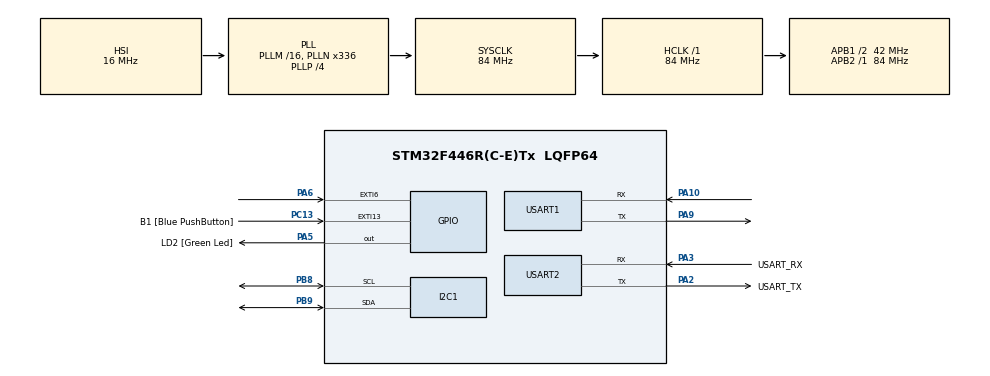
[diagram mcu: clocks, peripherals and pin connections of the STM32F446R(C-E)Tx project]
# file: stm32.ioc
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Mcu.Family=STM32F4
Mcu.Name=STM32F446R(C-E)Tx
Mcu.Package=LQFP64
NVIC.EXTI9_5_IRQn=true\:0\:0\:false\:false\:true\:true\:true\:true
NVIC.PriorityGroup=NVIC_PRIORITYGROUP_0
PA10.Mode=Asynchronous
PA10.Signal=USART1_RX
PA13.GPIO_Label=TMS
PA13.Mode=Serial_Wire
PA13.Signal=SYS_JTMS-SWDIO
PA14.GPIO_Label=TCK
PA14.Mode=Serial_Wire
PA14.Signal=SYS_JTCK-SWCLK
PA2.GPIO_Label=USART_TX
PA2.Mode=Asynchronous
PA2.Signal=USART2_TX
PA3.GPIO_Label=USART_RX
PA3.Mode=Asynchronous
PA3.Signal=USART2_RX
PA5.GPIO_Label=LD2 [Green Led]
PA5.Signal=GPIO_Output
PA6.Signal=GPXTI6
PA9.Mode=Asynchronous
PA9.Signal=USART1_TX
PB3.GPIO_Label=SWO
PB3.Signal=SYS_JTDO-SWO
PB8.Mode=I2C
PB8.Signal=I2C1_SCL
PB9.Mode=I2C
PB9.Signal=I2C1_SDA
PC13.GPIO_Label=B1 [Blue PushButton]
PC13.GPIO_ModeDefaultEXTI=GPIO_MODE_IT_FALLING
PC13.Signal=GPXTI13
PC14-OSC32_IN.Mode=LSE-External-Oscillator
PC14-OSC32_IN.Signal=RCC_OSC32_IN
PC15-OSC32_OUT.Mode=LSE-External-Oscillator
PC15-OSC32_OUT.Signal=RCC_OSC32_OUT
PH0-OSC_IN.Mode=HSE-External-Oscillator
PH0-OSC_IN.Signal=RCC_OSC_IN
PH1-OSC_OUT.Mode=HSE-External-Oscillator
PH1-OSC_OUT.Signal=RCC_OSC_OUT
ProjectManager.HeapSize=0x200
ProjectManager.StackSize=0x400
ProjectManager.TargetToolchain=Makefile
RCC.48MHZClocksFreq_Value=84000000
RCC.AHBFreq_Value=84000000
RCC.APB1CLKDivider=RCC_HCLK_DIV2
RCC.APB1Freq_Value=42000000
RCC.APB1TimFreq_Value=84000000
RCC.APB2Freq_Value=84000000
RCC.APB2TimFreq_Value=84000000
RCC.CortexFreq_Value=84000000
RCC.FLatency-AdvancedSettings=FLASH_LATENCY_2
RCC.HCLKFreq_Value=84000000
RCC.HSE_VALUE=8000000
RCC.HSI_VALUE=16000000
RCC.PLLN=336
RCC.PLLP=RCC_PLLP_DIV4
RCC.SYSCLKFreq_VALUE=84000000
RCC.SYSCLKSource=RCC_SYSCLKSOURCE_PLLCLK
RCC.USBFreq_Value=168000000
RCC.VCOOutputFreq_Value=336000000
USART1.VirtualMode=VM_ASYNC
USART2.VirtualMode=VM_ASYNC
board=NUCLEO-F446RE

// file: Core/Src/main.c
/* USER CODE BEGIN Header */
/**
  ******************************************************************************
  * @file           : main.c
  * @brief          : Main program body
  ******************************************************************************
  * @attention
  *
  * Copyright (c) 2026 STMicroelectronics.
  * All rights reserved.
  *
  * This software is licensed under terms that can be found in the LICENSE file
  * in the root directory of this software component.
  * If no LICENSE file comes with this software, it is provided AS-IS.
  *
  ******************************************************************************
  */
/* USER CODE END Header */
#include "main.h"

/* USER CODE BEGIN Includes */
#include "mpu6500.h"

/* USER CODE END Includes */

/* USER CODE BEGIN PTD */
typedef struct vec3 {
	float x;
	float y;
	float z;
} Vec3;
/* USER CODE END PTD */

/* USER CODE BEGIN PD */
#define UART_HEADER (0xAA)
/* USER CODE END PD */

I2C_HandleTypeDef hi2c1;

UART_HandleTypeDef huart1;
UART_HandleTypeDef huart2;

/* USER CODE BEGIN PV */
MPU6500_handle_t hmpu = {0};
MPU6500_output_t mpu_out = {0};
//INS_Position pos = {0};
// debug variables
int _loops = 0;
int _errors = 0;
/* USER CODE END PV */

void SystemClock_Config(void);
static void MX_GPIO_Init(void);
static void MX_I2C1_Init(void);
static void MX_USART1_UART_Init(void);
static void MX_USART2_UART_Init(void);

/* USER CODE BEGIN 0 */
void HAL_GPIO_EXTI_Callback(uint16_t GPIO_Pin)
{
    if (GPIO_Pin == GPIO_PIN_6)
    {
        MPU6500_IntCallback(&hmpu);
    }
}
/* USER CODE END 0 */

int main(void)
{

  /* USER CODE BEGIN 1 */
	Vec3 gyro_vec;
	Vec3 gyro_offset = {0};
	uint32_t old_time = 0;;
	uint32_t time = 0;
	uint32_t dt = 0;
  /* USER CODE END 1 */

  /* MCU Configuration--------------------------------------------------------*/

  /* Reset of all peripherals, Initializes the Flash interface and the Systick. */
  HAL_Init();

  /* Configure the system clock */
  SystemClock_Config();

  /* Initialize all configured peripherals */
  MX_GPIO_Init();
  MX_I2C1_Init();
  MX_USART1_UART_Init();
  MX_USART2_UART_Init();
  /* USER CODE BEGIN 2 */

  // initialize device
  if(MPU6500_Init_I2C(&hmpu, &hi2c1, MPU6500_ADDR_LOW) != 0) Error_Handler();
  // set sample rate div to low frequency (1kHz/17)
  if(MPU6500_SetSampleRateDiv(&hmpu, 10) != 0) Error_Handler();
  /* Enable raw data ready interrupts */
  if(MPU6500_EnableInterrupts(&hmpu) != 0) Error_Handler();

  // initialize time on INS_Position pos. All other mem set to 0.
  ///pos.time_ms = HAL_GetTick();

  // get initial gyro samples to calculate offsets
  const int offset_samples = 10;
  for(int i = 0; i < offset_samples; i++) {
	  while(hmpu.data_ready == 0)
	  {
		  // SPIN
	  }
	  hmpu.data_ready = 0;
	  if(MPU6500_GetGyro(&hmpu, &mpu_out) != 0) Error_Handler();
	  gyro_offset.x += mpu_out.gyro_xout;
	  gyro_offset.y += mpu_out.gyro_yout;
	  gyro_offset.z += mpu_out.gyro_zout;
  }
  gyro_offset.x /= offset_samples;
  gyro_offset.y /= offset_samples;
  gyro_offset.z /= offset_samples;
  /* USER CODE END 2 */

  /* Infinite loop */
  /* USER CODE BEGIN WHILE */
  uint8_t uart_header = UART_HEADER;
  while (1)
  {
	  while(hmpu.data_ready == 0)
	  {
		  /* SPIN */
	  }
	  // set data ready back to 0 in preparation for next interrupt
	  hmpu.data_ready = 0;
    /* USER CODE END WHILE */

    /* USER CODE BEGIN 3 */
	  old_time = time;
	  time = HAL_GetTick();
	  dt = time - old_time;

	  if(MPU6500_GetGyro(&hmpu, &mpu_out) != 0) _errors++;
	  //update vectors
	  gyro_vec.x = (mpu_out.gyro_xout - gyro_offset.x) * dt;
	  gyro_vec.y = (mpu_out.gyro_yout - gyro_offset.y) * dt;
	  gyro_vec.z = (mpu_out.gyro_zout - gyro_offset.z) * dt;
	  _loops++;

	  // send header
	  if(HAL_UART_Transmit(&huart1, &uart_header,
						   sizeof(uint8_t), 1000) != HAL_OK) {
		  Error_Handler();
	  }
	  // send position vector
	  if(HAL_UART_Transmit(&huart1, (uint8_t*)&(gyro_vec),
						   sizeof(Vec3), 1000) != HAL_OK) {
		  Error_Handler();
	  }
  }
  /* USER CODE END 3 */
}

void SystemClock_Config(void)
{
  RCC_OscInitTypeDef RCC_OscInitStruct = {0};
  RCC_ClkInitTypeDef RCC_ClkInitStruct = {0};

  /** Configure the main internal regulator output voltage
  */
  __HAL_RCC_PWR_CLK_ENABLE();
  __HAL_PWR_VOLTAGESCALING_CONFIG(PWR_REGULATOR_VOLTAGE_SCALE3);

  /** Initializes the RCC Oscillators according to the specified parameters
  * in the RCC_OscInitTypeDef structure.
  */
  RCC_OscInitStruct.OscillatorType = RCC_OSCILLATORTYPE_HSI;
  RCC_OscInitStruct.HSIState = RCC_HSI_ON;
  RCC_OscInitStruct.HSICalibrationValue = RCC_HSICALIBRATION_DEFAULT;
  RCC_OscInitStruct.PLL.PLLState = RCC_PLL_ON;
  RCC_OscInitStruct.PLL.PLLSource = RCC_PLLSOURCE_HSI;
  RCC_OscInitStruct.PLL.PLLM = 16;
  RCC_OscInitStruct.PLL.PLLN = 336;
  RCC_OscInitStruct.PLL.PLLP = RCC_PLLP_DIV4;
  RCC_OscInitStruct.PLL.PLLQ = 2;
  RCC_OscInitStruct.PLL.PLLR = 2;
  if (HAL_RCC_OscConfig(&RCC_OscInitStruct) != HAL_OK)
  {
    Error_Handler();
  }

  /** Initializes the CPU, AHB and APB buses clocks
  */
  RCC_ClkInitStruct.ClockType = RCC_CLOCKTYPE_HCLK|RCC_CLOCKTYPE_SYSCLK
                              |RCC_CLOCKTYPE_PCLK1|RCC_CLOCKTYPE_PCLK2;
  RCC_ClkInitStruct.SYSCLKSource = RCC_SYSCLKSOURCE_PLLCLK;
  RCC_ClkInitStruct.AHBCLKDivider = RCC_SYSCLK_DIV1;
  RCC_ClkInitStruct.APB1CLKDivider = RCC_HCLK_DIV2;
  RCC_ClkInitStruct.APB2CLKDivider = RCC_HCLK_DIV1;

  if (HAL_RCC_ClockConfig(&RCC_ClkInitStruct, FLASH_LATENCY_2) != HAL_OK)
  {
    Error_Handler();
  }
}

static void MX_I2C1_Init(void)
{

  /* USER CODE BEGIN I2C1_Init 0 */

// manually clock SCL to free stuck SDA
	GPIO_InitTypeDef GPIO_InitStruct = {0};
	__HAL_RCC_GPIOB_CLK_ENABLE();

// configure SCL as output
	GPIO_InitStruct.Pin = GPIO_PIN_8;
	GPIO_InitStruct.Mode = GPIO_MODE_OUTPUT_OD;
	GPIO_InitStruct.Pull = GPIO_NOPULL;
	GPIO_InitStruct.Speed = GPIO_SPEED_FREQ_LOW;
	HAL_GPIO_Init(GPIOB, &GPIO_InitStruct);

// clock SCL 9 times to unstick any stuck slave
	for(int i = 0; i < 9; i++)
	{
		HAL_GPIO_WritePin(GPIOB, GPIO_PIN_8, GPIO_PIN_RESET);
		HAL_Delay(1);
		HAL_GPIO_WritePin(GPIOB, GPIO_PIN_8, GPIO_PIN_SET);
		HAL_Delay(1);
	}
  /* USER CODE END I2C1_Init 0 */

  /* USER CODE BEGIN I2C1_Init 1 */
  __HAL_RCC_GPIOB_CLK_ENABLE();
  GPIO_InitStruct.Pin = GPIO_PIN_8 | GPIO_PIN_9;
  GPIO_InitStruct.Mode = GPIO_MODE_AF_OD;
  GPIO_InitStruct.Pull = GPIO_NOPULL;
  GPIO_InitStruct.Speed = GPIO_SPEED_FREQ_VERY_HIGH;
  GPIO_InitStruct.Alternate = GPIO_AF4_I2C1;
  HAL_GPIO_Init(GPIOB, &GPIO_InitStruct);

  /* USER CODE END I2C1_Init 1 */
  hi2c1.Instance = I2C1;
  hi2c1.Init.ClockSpeed = 100000;
  hi2c1.Init.DutyCycle = I2C_DUTYCYCLE_2;
  hi2c1.Init.OwnAddress1 = 0;
  hi2c1.Init.AddressingMode = I2C_ADDRESSINGMODE_7BIT;
  hi2c1.Init.DualAddressMode = I2C_DUALADDRESS_DISABLE;
  hi2c1.Init.OwnAddress2 = 0;
  hi2c1.Init.GeneralCallMode = I2C_GENERALCALL_DISABLE;
  hi2c1.Init.NoStretchMode = I2C_NOSTRETCH_DISABLE;
  if (HAL_I2C_Init(&hi2c1) != HAL_OK)
  {
    Error_Handler();
  }

}

static void MX_USART1_UART_Init(void)
{

  huart1.Instance = USART1;
  huart1.Init.BaudRate = 115200;
  huart1.Init.WordLength = UART_WORDLENGTH_8B;
  huart1.Init.StopBits = UART_STOPBITS_1;
  huart1.Init.Parity = UART_PARITY_NONE;
  huart1.Init.Mode = UART_MODE_TX_RX;
  huart1.Init.HwFlowCtl = UART_HWCONTROL_NONE;
  huart1.Init.OverSampling = UART_OVERSAMPLING_16;
  if (HAL_UART_Init(&huart1) != HAL_OK)
  {
    Error_Handler();
  }

}

static void MX_USART2_UART_Init(void)
{

  huart2.Instance = USART2;
  huart2.Init.BaudRate = 115200;
  huart2.Init.WordLength = UART_WORDLENGTH_8B;
  huart2.Init.StopBits = UART_STOPBITS_1;
  huart2.Init.Parity = UART_PARITY_NONE;
  huart2.Init.Mode = UART_MODE_TX_RX;
  huart2.Init.HwFlowCtl = UART_HWCONTROL_NONE;
  huart2.Init.OverSampling = UART_OVERSAMPLING_16;
  if (HAL_UART_Init(&huart2) != HAL_OK)
  {
    Error_Handler();
  }

}

static void MX_GPIO_Init(void)
{
  GPIO_InitTypeDef GPIO_InitStruct = {0};

  /* GPIO Ports Clock Enable */
  __HAL_RCC_GPIOC_CLK_ENABLE();
  __HAL_RCC_GPIOH_CLK_ENABLE();
  __HAL_RCC_GPIOA_CLK_ENABLE();
  __HAL_RCC_GPIOB_CLK_ENABLE();

  /*Configure GPIO pin Output Level */
  HAL_GPIO_WritePin(LD2_GPIO_Port, LD2_Pin, GPIO_PIN_RESET);

  /*Configure GPIO pin : B1_Pin */
  GPIO_InitStruct.Pin = B1_Pin;
  GPIO_InitStruct.Mode = GPIO_MODE_IT_FALLING;
  GPIO_InitStruct.Pull = GPIO_NOPULL;
  HAL_GPIO_Init(B1_GPIO_Port, &GPIO_InitStruct);

  /*Configure GPIO pin : LD2_Pin */
  GPIO_InitStruct.Pin = LD2_Pin;
  GPIO_InitStruct.Mode = GPIO_MODE_OUTPUT_PP;
  GPIO_InitStruct.Pull = GPIO_NOPULL;
  GPIO_InitStruct.Speed = GPIO_SPEED_FREQ_LOW;
  HAL_GPIO_Init(LD2_GPIO_Port, &GPIO_InitStruct);

  /*Configure GPIO pin : PA6 */
  GPIO_InitStruct.Pin = GPIO_PIN_6;
  GPIO_InitStruct.Mode = GPIO_MODE_IT_RISING;
  GPIO_InitStruct.Pull = GPIO_NOPULL;
  HAL_GPIO_Init(GPIOA, &GPIO_InitStruct);

  /* EXTI interrupt init*/
  HAL_NVIC_SetPriority(EXTI9_5_IRQn, 0, 0);
  HAL_NVIC_EnableIRQ(EXTI9_5_IRQn);

}

void Error_Handler(void)
{
  __disable_irq();
  while (1)
  {
  }
}
